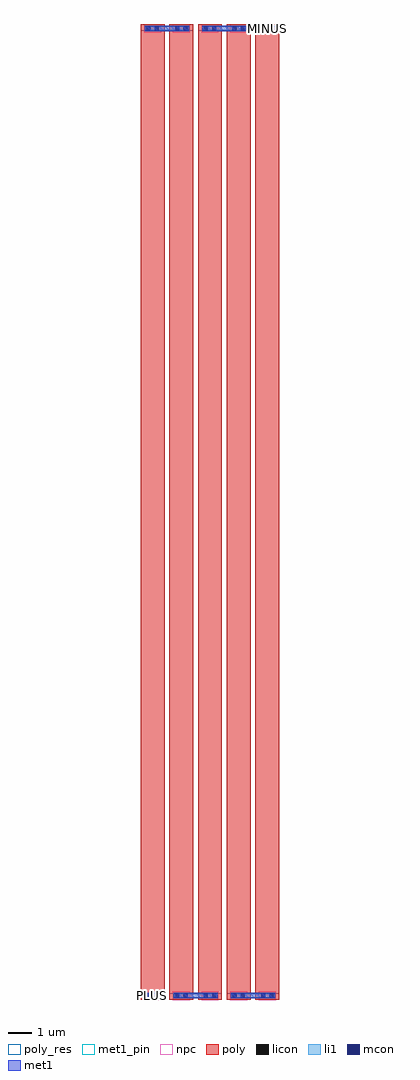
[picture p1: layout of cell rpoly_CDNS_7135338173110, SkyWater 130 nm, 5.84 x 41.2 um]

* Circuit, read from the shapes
.subckt rpoly_CDNS_7135338173110 MINUS PLUS
R1 n1 PLUS sky130_fd_pr__res_generic_po w=1 l=40.665
R2 n1 n2 sky130_fd_pr__res_generic_po w=1 l=40.665
R3 n3 n2 sky130_fd_pr__res_generic_po w=1 l=40.665
R4 n3 n4 sky130_fd_pr__res_generic_po w=1 l=40.665
R5 MINUS n4 sky130_fd_pr__res_generic_po w=1 l=40.665
.ends

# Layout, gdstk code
import gdstk
lib = gdstk.Library(unit=1e-6, precision=1e-09)
def R(c, l, rs):  # rectangles x0, y0, x1, y1
    for r in rs: c.add(gdstk.rectangle(r[:2], r[2:], *l))
def A(c, l, x, y, w, h, nx, ny, dx, dy):  # array of equal rectangles
    R(c, l, [(x+i*dx, y+j*dy, x+i*dx+w, y+j*dy+h) for i in range(nx) for j in range(ny)])
poly_res = (66, 13)
poly = (66, 20)
licon = (66, 44)
li1 = (67, 20)
mcon = (67, 44)
met1_pin = (68, 16)
met1 = (68, 20)
npc = (95, 20)

rpoly_cdns_7135338173110 = lib.new_cell('rpoly_CDNS_7135338173110')
A(rpoly_cdns_7135338173110, poly_res, 0, 0, 1, 40.665, 5, 1, 1.21, 0)
A(rpoly_cdns_7135338173110, poly, 0, -0.25, 1, 41.165, 5, 1, 1.21, 0)
R(rpoly_cdns_7135338173110, licon, [(0.245,-0.17,0.415,0), (0.585,-0.17,0.755,0), (1.455,-0.17,1.625,0), (1.795,-0.17,1.965,0), (2.665,-0.17,2.835,0), (3.005,-0.17,3.175,0), (3.875,-0.17,4.045,0), (4.215,-0.17,4.385,0), (5.085,-0.17,5.255,0), (5.425,-0.17,5.595,0), (0.245,40.665,0.415,40.835), (0.585,40.665,0.755,40.835), (1.455,40.665,1.625,40.835), (1.795,40.665,1.965,40.835), (2.665,40.665,2.835,40.835), (3.005,40.665,3.175,40.835), (3.875,40.665,4.045,40.835), (4.215,40.665,4.385,40.835), (5.085,40.665,5.255,40.835), (5.425,40.665,5.595,40.835)])
R(rpoly_cdns_7135338173110, li1, [(0.165,-0.17,0.835,0), (1.375,-0.17,3.255,0), (3.795,-0.17,5.675,0), (0.165,40.665,2.045,40.835), (2.585,40.665,4.465,40.835), (5.005,40.665,5.675,40.835)])
R(rpoly_cdns_7135338173110, mcon, [(0.235,-0.17,0.405,0), (0.595,-0.17,0.765,0), (1.445,-0.17,1.615,0), (1.805,-0.17,1.975,0), (2.655,-0.17,2.825,0), (3.015,-0.17,3.185,0), (3.865,-0.17,4.035,0), (4.225,-0.17,4.395,0), (5.075,-0.17,5.245,0), (5.435,-0.17,5.605,0), (0.235,40.665,0.405,40.835), (0.595,40.665,0.765,40.835), (1.445,40.665,1.615,40.835), (1.805,40.665,1.975,40.835), (2.655,40.665,2.825,40.835), (3.015,40.665,3.185,40.835), (3.865,40.665,4.035,40.835), (4.225,40.665,4.395,40.835), (5.075,40.665,5.245,40.835), (5.435,40.665,5.605,40.835)])
R(rpoly_cdns_7135338173110, met1_pin, [(0.175,-0.2,0.825,0.03), (5.015,40.635,5.665,40.865)])
R(rpoly_cdns_7135338173110, met1, [(0.175,-0.2,0.825,0.03), (1.385,-0.2,3.245,0.03), (3.805,-0.2,5.665,0.03), (0.175,40.635,2.035,40.865), (2.595,40.635,4.455,40.865), (5.015,40.635,5.665,40.865)])
A(rpoly_cdns_7135338173110, npc, 0.145, -0.27, 0.71, 0.37, 5, 2, 1.21, 40.835)
rpoly_cdns_7135338173110.add(gdstk.Label('MINUS', (5.34,40.75), layer=68, texttype=5))
rpoly_cdns_7135338173110.add(gdstk.Label('PLUS', (0.5,-0.085), layer=68, texttype=5))

lib.write_gds('rpoly_CDNS_7135338173110.gds')
